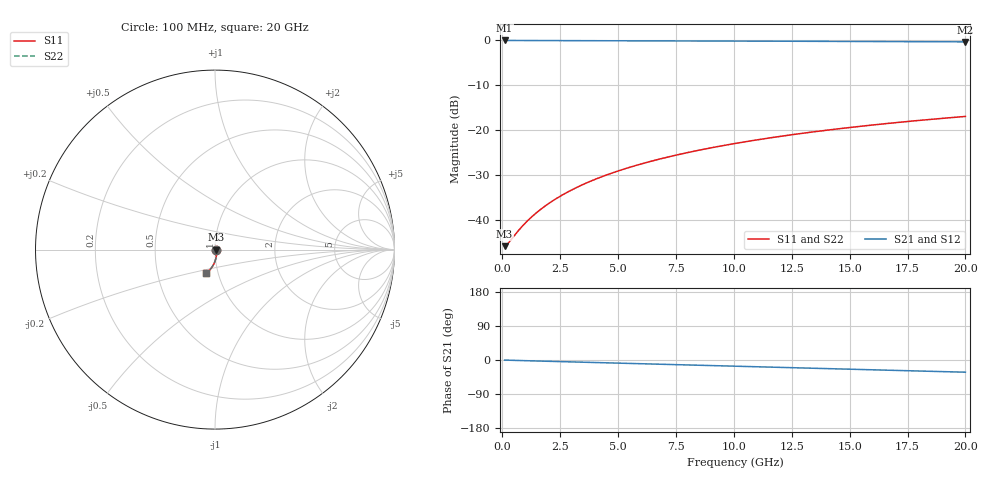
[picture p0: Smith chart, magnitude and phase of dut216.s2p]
! Touchstone file exported from HFSS 2026.1.0
!  File:  C:/ffzhzh/LocalFiles/Ansys_Project_Files/temp_train_TMRDL_216_1782984240_45328.aedt
!  Generated:  05:25:13 PM Jul  2, 2026
!  Design:  TMRDL
!  Project:  temp_train_TMRDL_216_1782984240_45328
! Variables:
!  h_bsmrdl = 2um
!  h_ox = 20um
!  h_rdl = 5um
!  h_sub = 80um
!  h_tmrdl = 2.76um
!  h_tsv = 80um
!  h_via = 3um
!  l_bsmrdl = 300um
!  l_sub = 946.66um
!  l_tmrdl = 546.66um
!  m_sub = 200um
!  pitch = 15.8um
!  r_tsv = 6um
!  s_tmrdl = 10um
!  w_bsmrdl = 18um
!  w_sub = 500um
!  w_tmrdl = 14.37um
!  x_tsv_center1 = 553.845um
!  x_tsv_center2 = 871.845um
!  x_tsv_center3 = 1432.875um
!  x_tsv_center4 = 1750.875um
!  x_tsv_center5 = 2311.905um
!  x_tsv_center6 = 2629.905um
# GHz S MA R 50.000000
! Terminal data exported
! Port[1] = TM_RDL1_1_T1
! Port[2] = TM_RDL1_1_T2
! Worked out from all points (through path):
!   200 points, 100 MHz to 20 GHz, reference 50 ohm
!   highest |S21| = -0.04 dB at 100 MHz (marker M1); lowest = -0.4 dB at 20 GHz (marker M2)
!   group delay of S21, straight-line fit = 4.45 ps
!   lowest |S11| = -45.9 dB at 100 MHz (marker M3), VSWR 1.01, Z = 50.5 - j0.00126 ohm
!   |S11| at or under -10 dB: start of sweep to end of sweep
!   |S22| runs from -45.9 to -17.0 dB; largest |S21 - S12| = 3.4e-15
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0.1  0.005063 -0.1  0.9949 -0.2  0.9949 -0.2  0.005063 -0.1
! Gamma 0 0 0 0
! Port Impedance 50 0 50 0
0.2  0.005291 -0.9  0.9947 -0.4  0.9947 -0.4  0.005291 -0.9
0.3  0.005635 -2.5  0.9944 -0.6  0.9944 -0.6  0.005635 -2.5
0.7  0.007571 -15.4  0.9926 -1.3  0.9926 -1.3  0.007569 -15.3
1  0.009212 -26.3  0.9916 -1.8  0.9916 -1.8  0.009209 -26.3
1.3  0.01092 -35.6  0.9908 -2.3  0.9908 -2.3  0.01091 -35.6
1.6  0.01268 -43.2  0.9903 -2.8  0.9903 -2.8  0.01268 -43.2
2  0.01511 -51.2  0.9898 -3.4  0.9898 -3.4  0.0151 -51.2
2.5  0.01825 -58.5  0.9892 -4.3  0.9892 -4.3  0.01824 -58.5
3  0.02147 -64.0  0.9887 -5.1  0.9887 -5.1  0.02146 -64.0
3.5  0.02476 -68.2  0.9882 -5.9  0.9882 -5.9  0.02475 -68.3
4.2  0.02944 -72.8  0.9875 -7.0  0.9875 -7.0  0.02943 -72.9
5  0.03489 -76.8  0.9866 -8.3  0.9866 -8.3  0.03487 -76.9
5.9  0.04112 -80.4  0.9855 -9.8  0.9855 -9.8  0.04109 -80.6
6.8  0.04743 -83.4  0.9844 -11.3  0.9844 -11.3  0.0474 -83.6
8.4  0.0588 -87.9  0.982 -13.9  0.982 -13.9  0.05876 -88.0
10.1  0.07104 -91.8  0.9793 -16.6  0.9793 -16.6  0.07099 -92.1
11.7  0.08263 -95.2  0.9765 -19.2  0.9765 -19.2  0.08258 -95.5
13.4  0.09495 -98.6  0.9733 -21.9  0.9733 -21.9  0.09489 -98.9
15  0.1065 -101.6  0.9702 -24.4  0.9702 -24.4  0.1064 -102.0
16.7  0.1186 -104.8  0.9668 -27.1  0.9668 -27.1  0.1185 -105.1
20  0.1415 -110.6  0.9601 -32.2  0.9601 -32.2  0.1414 -111.1
